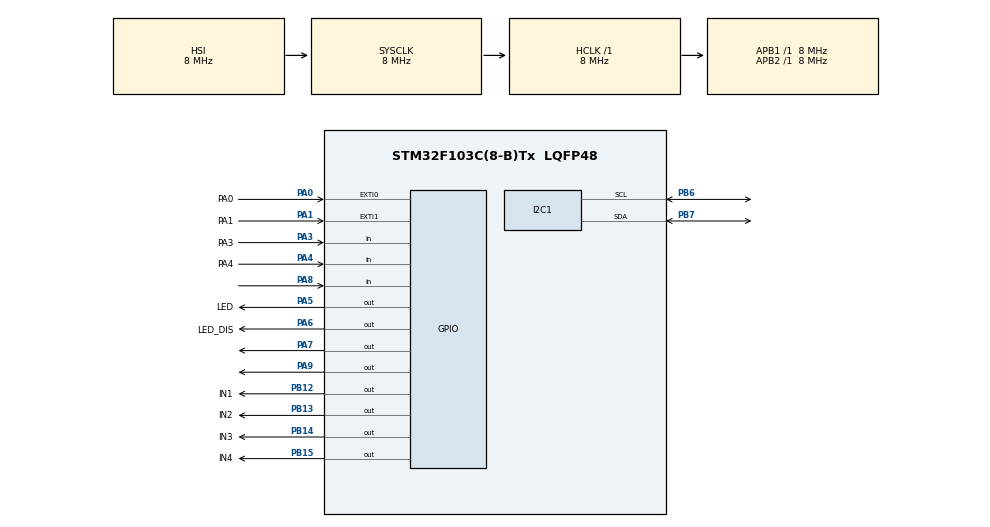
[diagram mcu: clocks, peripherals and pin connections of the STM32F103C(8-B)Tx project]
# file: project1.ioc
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I2C1.I2C_Mode=I2C_Fast
Mcu.Family=STM32F1
Mcu.Name=STM32F103C(8-B)Tx
Mcu.Package=LQFP48
NVIC.EXTI0_IRQn=true\:0\:0\:false\:false\:true\:true\:true\:true
NVIC.EXTI1_IRQn=true\:0\:0\:false\:false\:true\:true\:true\:true
NVIC.PriorityGroup=NVIC_PRIORITYGROUP_4
NVIC.TIM2_IRQn=true\:0\:0\:false\:false\:true\:true\:true\:true
NVIC.TIM3_IRQn=true\:0\:0\:false\:false\:true\:true\:true\:true
PA0-WKUP.GPIO_Label=PA0
PA0-WKUP.GPIO_PuPd=GPIO_PULLUP
PA0-WKUP.Signal=GPXTI0
PA1.GPIO_Label=PA1
PA1.GPIO_ModeDefaultEXTI=GPIO_MODE_IT_FALLING
PA1.GPIO_PuPd=GPIO_PULLUP
PA1.Signal=GPXTI1
PA13.Mode=Serial_Wire
PA13.Signal=SYS_JTMS-SWDIO
PA14.Mode=Serial_Wire
PA14.Signal=SYS_JTCK-SWCLK
PA3.GPIO_Label=PA3
PA3.Signal=GPIO_Input
PA4.GPIO_Label=PA4
PA4.Signal=GPIO_Input
PA5.GPIO_Label=LED
PA5.GPIO_PuPd=GPIO_NOPULL
PA5.PinState=GPIO_PIN_RESET
PA5.Signal=GPIO_Output
PA6.GPIO_Label=LED_DIS
PA6.Signal=GPIO_Output
PA7.Signal=GPIO_Output
PA8.Signal=GPIO_Input
PA9.Signal=GPIO_Output
PB12.GPIO_Label=IN1
PB12.Signal=GPIO_Output
PB13.GPIO_Label=IN2
PB13.Signal=GPIO_Output
PB14.GPIO_Label=IN3
PB14.Signal=GPIO_Output
PB15.GPIO_Label=IN4
PB15.Signal=GPIO_Output
PB6.Mode=I2C
PB6.Signal=I2C1_SCL
PB7.Mode=I2C
PB7.Signal=I2C1_SDA
ProjectManager.HeapSize=0x200
ProjectManager.StackSize=0x400
ProjectManager.TargetToolchain=STM32CubeIDE
RCC.AHBFreq_Value=8000000
RCC.APB1Freq_Value=8000000
RCC.APB1TimFreq_Value=8000000
RCC.APB2Freq_Value=8000000
RCC.APB2TimFreq_Value=8000000
RCC.HCLKFreq_Value=8000000
RCC.SYSCLKFreq_VALUE=8000000
RCC.USBFreq_Value=8000000
TIM1.AutoReloadPreload=TIM_AUTORELOAD_PRELOAD_ENABLE
TIM2.AutoReloadPreload=TIM_AUTORELOAD_PRELOAD_ENABLE
TIM2.CounterMode=TIM_COUNTERMODE_UP
TIM2.Period=999
TIM2.Prescaler=3999
TIM3.AutoReloadPreload=TIM_AUTORELOAD_PRELOAD_ENABLE
TIM3.Period=999
TIM3.Prescaler=999
VP_TIM1_VS_ClockSourceINT.Mode=Internal
VP_TIM2_VS_ClockSourceINT.Mode=Internal
VP_TIM3_VS_ClockSourceINT.Mode=Internal
board=custom

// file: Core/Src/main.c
/* USER CODE BEGIN Header */
/**
  **************************************************************************
  * @file           : main.c
  * @brief          : Main program body
  **************************************************************************
  * @attention
  *
  * Copyright (c) 2024 STMicroelectronics.
  * All rights reserved.
  *
  * This software is licensed under terms that can be found in the LICENSE file
  * in the root directory of this software component.
  * If no LICENSE file comes with this software, it is provided AS-IS.
  *
  **************************************************************************
  */
/* USER CODE END Header */
#include "main.h"

/* USER CODE BEGIN Includes */
#include "ssd1306.h"
#include "fonts.h"
#include <stdio.h>
#include <stdbool.h>
/* USER CODE END Includes */

/* USER CODE BEGIN PTD */

/* Define pins for ultrasonic sensor */
#define TRIG_PIN GPIO_PIN_9
#define TRIG_PORT GPIOA
#define ECHO_PIN GPIO_PIN_8
#define ECHO_PORT GPIOA
#define FORWARD 1
#define BACKWARD 2
#define TURN_LEFT 3
#define TURN_RIGHT 4
#define STOP 0
/* USER CODE END PTD */

/* USER CODE BEGIN PD */
/* Global variables */
uint32_t pMillis;
uint32_t Value1 = 0;
uint32_t Value2 = 0;
uint16_t Distance = 0; // in cm
bool SW1 = 0;
bool SW2 = 0;
bool STATE1 = 0;
bool STATE2 = 0;
bool LED1_STATE = 0;
uint8_t count = 0;
char strCopy[15];

/* USER CODE END PD */

I2C_HandleTypeDef hi2c1;

TIM_HandleTypeDef htim1;
TIM_HandleTypeDef htim2;
TIM_HandleTypeDef htim3;

void SystemClock_Config(void);
static void MX_GPIO_Init(void);
static void MX_I2C1_Init(void);
static void MX_TIM1_Init(void);
static void MX_TIM2_Init(void);
static void MX_TIM3_Init(void);
/* USER CODE BEGIN PFP */
void Move(uint8_t dir){
	if(dir == FORWARD){
		HAL_GPIO_WritePin(GPIOB, IN1_Pin, 1);
		HAL_GPIO_WritePin(GPIOB, IN2_Pin, 0);
		HAL_GPIO_WritePin(GPIOB, IN3_Pin, 1);
		HAL_GPIO_WritePin(GPIOB, IN4_Pin, 0);
	}
	else if(dir == BACKWARD){
			HAL_GPIO_WritePin(GPIOB, IN1_Pin, 0);
			HAL_GPIO_WritePin(GPIOB, IN2_Pin, 1);
			HAL_GPIO_WritePin(GPIOB, IN3_Pin, 0);
			HAL_GPIO_WritePin(GPIOB, IN4_Pin, 1);
	}
	else if(dir == TURN_LEFT){
			HAL_GPIO_WritePin(GPIOB, IN1_Pin, 0);
			HAL_GPIO_WritePin(GPIOB, IN2_Pin, 1);
			HAL_GPIO_WritePin(GPIOB, IN3_Pin, 1);
			HAL_GPIO_WritePin(GPIOB, IN4_Pin, 0);
	}
	else if(dir == TURN_RIGHT){
			HAL_GPIO_WritePin(GPIOB, IN1_Pin, 1);
			HAL_GPIO_WritePin(GPIOB, IN2_Pin, 0);
			HAL_GPIO_WritePin(GPIOB, IN3_Pin, 0);
			HAL_GPIO_WritePin(GPIOB, IN4_Pin, 1);
	}
	else if(dir == STOP){
			HAL_GPIO_WritePin(GPIOB, IN1_Pin, 0);
			HAL_GPIO_WritePin(GPIOB, IN2_Pin, 0);
			HAL_GPIO_WritePin(GPIOB, IN3_Pin, 0);
			HAL_GPIO_WritePin(GPIOB, IN4_Pin, 0);
	}
}
/* USER CODE END PFP */

int main(void)
{

  /* MCU Configuration--------------------------------------------------------*/

  /* Reset of all peripherals, Initializes the Flash interface and the Systick. */
  HAL_Init();

  /* Configure the system clock */
  SystemClock_Config();

  /* Initialize all configured peripherals */
  MX_GPIO_Init();
  MX_I2C1_Init();
  MX_TIM1_Init();
  MX_TIM2_Init();
  MX_TIM3_Init();
  /* USER CODE BEGIN 2 */
    /* Start the timer for ultrasonic sensor */
  HAL_GPIO_WritePin(GPIOA, LED_Pin, 0);
//  HAL_GPIO_WritePin(GPIOA, GPIO_PIN_6, 1);
//  HAL_GPIO_WritePin(GPIOA, GPIO_PIN_7, 1);
	SSD1306_Init();
	HAL_TIM_Base_Start(&htim1);
	HAL_TIM_Base_Start_IT(&htim2);

    /* Ensure TRIG_PIN is LOW */
    HAL_GPIO_WritePin(TRIG_PORT, TRIG_PIN, GPIO_PIN_RESET);
    Move(STOP);
  /* USER CODE END 2 */

  /* Infinite loop */
  while (1)
  {

    /* USER CODE BEGIN 3 */
		// Trigger the ultrasonic sensor
	  //SW1 an
//	  SW1 = HAL_GPIO_ReadPin(GPIOA, PA3_Pin);
//	  SW2 = HAL_GPIO_ReadPin(GPIOA, PA4_Pin);
	  if (STATE1){
		  SSD1306_Clear();

		  HAL_GPIO_WritePin(TRIG_PORT, TRIG_PIN, GPIO_PIN_SET);  // Set TRIG_PIN HIGH
		  __HAL_TIM_SET_COUNTER(&htim1, 0);                      // Reset timer
		  while (__HAL_TIM_GET_COUNTER(&htim1) < 10);            // Wait 10 microseconds
		  HAL_GPIO_WritePin(TRIG_PORT, TRIG_PIN, GPIO_PIN_RESET); // Set TRIG_PIN LOW

		  pMillis = HAL_GetTick();
		  // Wait for ECHO_PIN to go HIGH
		  while (!(HAL_GPIO_ReadPin(ECHO_PORT, ECHO_PIN)) && pMillis + 10 > HAL_GetTick());
		  Value1 = __HAL_TIM_GET_COUNTER(&htim1);

		  pMillis = HAL_GetTick();
		  // Wait for ECHO_PIN to go LOW
		  while ((HAL_GPIO_ReadPin(ECHO_PORT, ECHO_PIN)) && pMillis + 50 > HAL_GetTick());
		  Value2 = __HAL_TIM_GET_COUNTER(&htim1);

		  // Calculate the distance (in cm)
		  Distance = (Value2 - Value1) * 0.034 / 2;
		  // Display the distance on the OLED
		  if (Distance >150){
			  SSD1306_GotoXY(0, 20);
			  SSD1306_Puts("Vat Can: 0", &Font_11x18, 1);
		  }
		  else{
			  SSD1306_GotoXY(0, 20);
			  SSD1306_Puts("Vat Can: 1", &Font_11x18, 1);
		  }
		  SSD1306_GotoXY(0, 40);
		  SSD1306_Puts("Dis: ", &Font_11x18, 1);
		  sprintf(strCopy, "%d ", Distance);
		  SSD1306_GotoXY(50, 40);
		  SSD1306_Puts(strCopy, &Font_16x26, 1);
		  SSD1306_UpdateScreen();
		  if (Distance < 20){
			  Move(STOP);
			  HAL_Delay(100);
			  Move(BACKWARD);
			  HAL_Delay(1000);
			  Move(TURN_LEFT);
			  HAL_Delay(2000);
		  }
		  else{
			  Move(FORWARD);
		  }

//		  HAL_Delay(100); // Delay before the next reading
	  }
	  else{
		  HAL_GPIO_WritePin(GPIOA, LED_Pin, 0);
		  //OFF
		  SSD1306_Clear();
		  SSD1306_GotoXY(0, 0);
		  SSD1306_Puts("Hoat Dong: 0", &Font_11x18, 1);

	  }
	  if (STATE2){
		  STATE2 = 0;
		  STATE1 = 1;
		  SSD1306_Init();

	  }
  }
  /* USER CODE END 3 */
}

void SystemClock_Config(void)
{
  RCC_OscInitTypeDef RCC_OscInitStruct = {0};
  RCC_ClkInitTypeDef RCC_ClkInitStruct = {0};

  /** Initializes the RCC Oscillators according to the specified parameters
  * in the RCC_OscInitTypeDef structure.
  */
  RCC_OscInitStruct.OscillatorType = RCC_OSCILLATORTYPE_HSI;
  RCC_OscInitStruct.HSIState = RCC_HSI_ON;
  RCC_OscInitStruct.HSICalibrationValue = RCC_HSICALIBRATION_DEFAULT;
  RCC_OscInitStruct.PLL.PLLState = RCC_PLL_NONE;
  if (HAL_RCC_OscConfig(&RCC_OscInitStruct) != HAL_OK)
  {
    Error_Handler();
  }

  /** Initializes the CPU, AHB and APB buses clocks
  */
  RCC_ClkInitStruct.ClockType = RCC_CLOCKTYPE_HCLK|RCC_CLOCKTYPE_SYSCLK
                              |RCC_CLOCKTYPE_PCLK1|RCC_CLOCKTYPE_PCLK2;
  RCC_ClkInitStruct.SYSCLKSource = RCC_SYSCLKSOURCE_HSI;
  RCC_ClkInitStruct.AHBCLKDivider = RCC_SYSCLK_DIV1;
  RCC_ClkInitStruct.APB1CLKDivider = RCC_HCLK_DIV1;
  RCC_ClkInitStruct.APB2CLKDivider = RCC_HCLK_DIV1;

  if (HAL_RCC_ClockConfig(&RCC_ClkInitStruct, FLASH_LATENCY_0) != HAL_OK)
  {
    Error_Handler();
  }
}

static void MX_I2C1_Init(void)
{

  hi2c1.Instance = I2C1;
  hi2c1.Init.ClockSpeed = 400000;
  hi2c1.Init.DutyCycle = I2C_DUTYCYCLE_2;
  hi2c1.Init.OwnAddress1 = 0;
  hi2c1.Init.AddressingMode = I2C_ADDRESSINGMODE_7BIT;
  hi2c1.Init.DualAddressMode = I2C_DUALADDRESS_DISABLE;
  hi2c1.Init.OwnAddress2 = 0;
  hi2c1.Init.GeneralCallMode = I2C_GENERALCALL_DISABLE;
  hi2c1.Init.NoStretchMode = I2C_NOSTRETCH_DISABLE;
  if (HAL_I2C_Init(&hi2c1) != HAL_OK)
  {
    Error_Handler();
  }

}

static void MX_TIM1_Init(void)
{

  TIM_ClockConfigTypeDef sClockSourceConfig = {0};
  TIM_MasterConfigTypeDef sMasterConfig = {0};

  htim1.Instance = TIM1;
  htim1.Init.Prescaler = 0;
  htim1.Init.CounterMode = TIM_COUNTERMODE_UP;
  htim1.Init.Period = 65535;
  htim1.Init.ClockDivision = TIM_CLOCKDIVISION_DIV1;
  htim1.Init.RepetitionCounter = 0;
  htim1.Init.AutoReloadPreload = TIM_AUTORELOAD_PRELOAD_ENABLE;
  if (HAL_TIM_Base_Init(&htim1) != HAL_OK)
  {
    Error_Handler();
  }
  sClockSourceConfig.ClockSource = TIM_CLOCKSOURCE_INTERNAL;
  if (HAL_TIM_ConfigClockSource(&htim1, &sClockSourceConfig) != HAL_OK)
  {
    Error_Handler();
  }
  sMasterConfig.MasterOutputTrigger = TIM_TRGO_RESET;
  sMasterConfig.MasterSlaveMode = TIM_MASTERSLAVEMODE_DISABLE;
  if (HAL_TIMEx_MasterConfigSynchronization(&htim1, &sMasterConfig) != HAL_OK)
  {
    Error_Handler();
  }

}

static void MX_TIM2_Init(void)
{

  TIM_ClockConfigTypeDef sClockSourceConfig = {0};
  TIM_MasterConfigTypeDef sMasterConfig = {0};

  htim2.Instance = TIM2;
  htim2.Init.Prescaler = 3999;
  htim2.Init.CounterMode = TIM_COUNTERMODE_UP;
  htim2.Init.Period = 999;
  htim2.Init.ClockDivision = TIM_CLOCKDIVISION_DIV1;
  htim2.Init.AutoReloadPreload = TIM_AUTORELOAD_PRELOAD_ENABLE;
  if (HAL_TIM_Base_Init(&htim2) != HAL_OK)
  {
    Error_Handler();
  }
  sClockSourceConfig.ClockSource = TIM_CLOCKSOURCE_INTERNAL;
  if (HAL_TIM_ConfigClockSource(&htim2, &sClockSourceConfig) != HAL_OK)
  {
    Error_Handler();
  }
  sMasterConfig.MasterOutputTrigger = TIM_TRGO_RESET;
  sMasterConfig.MasterSlaveMode = TIM_MASTERSLAVEMODE_DISABLE;
  if (HAL_TIMEx_MasterConfigSynchronization(&htim2, &sMasterConfig) != HAL_OK)
  {
    Error_Handler();
  }

}

static void MX_TIM3_Init(void)
{

  TIM_ClockConfigTypeDef sClockSourceConfig = {0};
  TIM_MasterConfigTypeDef sMasterConfig = {0};

  htim3.Instance = TIM3;
  htim3.Init.Prescaler = 999;
  htim3.Init.CounterMode = TIM_COUNTERMODE_UP;
  htim3.Init.Period = 999;
  htim3.Init.ClockDivision = TIM_CLOCKDIVISION_DIV1;
  htim3.Init.AutoReloadPreload = TIM_AUTORELOAD_PRELOAD_ENABLE;
  if (HAL_TIM_Base_Init(&htim3) != HAL_OK)
  {
    Error_Handler();
  }
  sClockSourceConfig.ClockSource = TIM_CLOCKSOURCE_INTERNAL;
  if (HAL_TIM_ConfigClockSource(&htim3, &sClockSourceConfig) != HAL_OK)
  {
    Error_Handler();
  }
  sMasterConfig.MasterOutputTrigger = TIM_TRGO_RESET;
  sMasterConfig.MasterSlaveMode = TIM_MASTERSLAVEMODE_DISABLE;
  if (HAL_TIMEx_MasterConfigSynchronization(&htim3, &sMasterConfig) != HAL_OK)
  {
    Error_Handler();
  }

}

static void MX_GPIO_Init(void)
{
  GPIO_InitTypeDef GPIO_InitStruct = {0};

  /* GPIO Ports Clock Enable */
  __HAL_RCC_GPIOA_CLK_ENABLE();
  __HAL_RCC_GPIOB_CLK_ENABLE();

  /*Configure GPIO pin Output Level */
  HAL_GPIO_WritePin(GPIOA, LED_Pin|LED_DIS_Pin|GPIO_PIN_7|GPIO_PIN_9, GPIO_PIN_RESET);

  /*Configure GPIO pin Output Level */
  HAL_GPIO_WritePin(GPIOB, IN1_Pin|IN2_Pin|IN3_Pin|IN4_Pin, GPIO_PIN_RESET);

  /*Configure GPIO pin : PA0_Pin */
  GPIO_InitStruct.Pin = PA0_Pin;
  GPIO_InitStruct.Mode = GPIO_MODE_IT_RISING;
  GPIO_InitStruct.Pull = GPIO_PULLUP;
  HAL_GPIO_Init(PA0_GPIO_Port, &GPIO_InitStruct);

  /*Configure GPIO pin : PA1_Pin */
  GPIO_InitStruct.Pin = PA1_Pin;
  GPIO_InitStruct.Mode = GPIO_MODE_IT_FALLING;
  GPIO_InitStruct.Pull = GPIO_PULLUP;
  HAL_GPIO_Init(PA1_GPIO_Port, &GPIO_InitStruct);

  /*Configure GPIO pins : PA3_Pin PA4_Pin PA8 */
  GPIO_InitStruct.Pin = PA3_Pin|PA4_Pin|GPIO_PIN_8;
  GPIO_InitStruct.Mode = GPIO_MODE_INPUT;
  GPIO_InitStruct.Pull = GPIO_NOPULL;
  HAL_GPIO_Init(GPIOA, &GPIO_InitStruct);

  /*Configure GPIO pins : LED_Pin LED_DIS_Pin PA7 PA9 */
  GPIO_InitStruct.Pin = LED_Pin|LED_DIS_Pin|GPIO_PIN_7|GPIO_PIN_9;
  GPIO_InitStruct.Mode = GPIO_MODE_OUTPUT_PP;
  GPIO_InitStruct.Pull = GPIO_NOPULL;
  GPIO_InitStruct.Speed = GPIO_SPEED_FREQ_LOW;
  HAL_GPIO_Init(GPIOA, &GPIO_InitStruct);

  /*Configure GPIO pins : IN1_Pin IN2_Pin IN3_Pin IN4_Pin */
  GPIO_InitStruct.Pin = IN1_Pin|IN2_Pin|IN3_Pin|IN4_Pin;
  GPIO_InitStruct.Mode = GPIO_MODE_OUTPUT_PP;
  GPIO_InitStruct.Pull = GPIO_NOPULL;
  GPIO_InitStruct.Speed = GPIO_SPEED_FREQ_LOW;
  HAL_GPIO_Init(GPIOB, &GPIO_InitStruct);

  /* EXTI interrupt init*/
  HAL_NVIC_SetPriority(EXTI0_IRQn, 0, 0);
  HAL_NVIC_EnableIRQ(EXTI0_IRQn);

  HAL_NVIC_SetPriority(EXTI1_IRQn, 0, 0);
  HAL_NVIC_EnableIRQ(EXTI1_IRQn);

}

void Error_Handler(void)
{
  __disable_irq();
  while (1)
  {
  }
}
